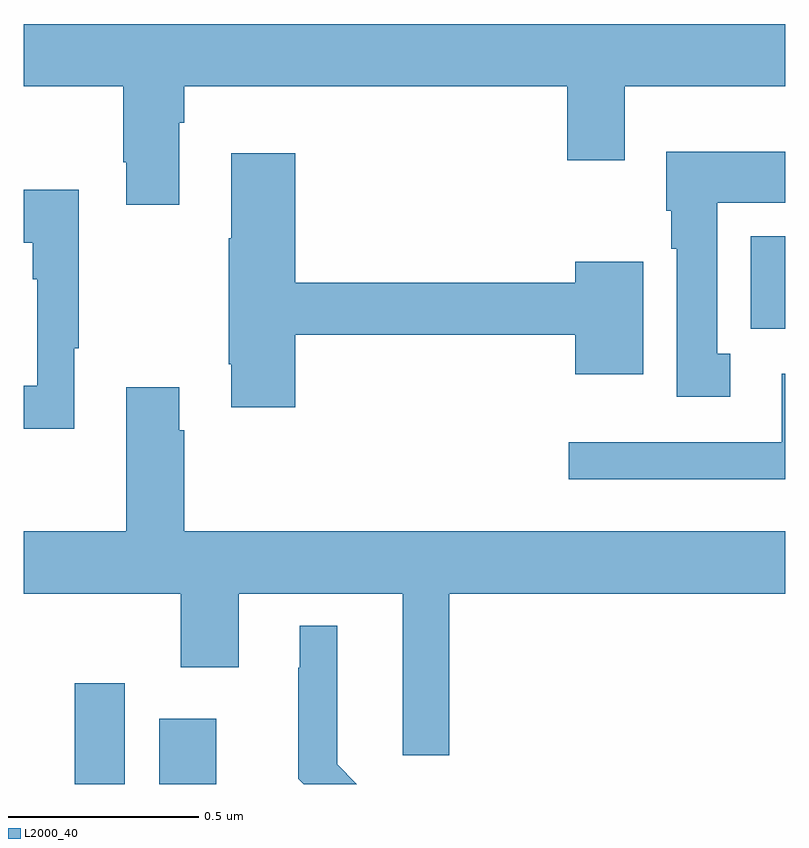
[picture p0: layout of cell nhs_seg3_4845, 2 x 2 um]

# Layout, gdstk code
import gdstk
lib = gdstk.Library(unit=1e-6, precision=1e-09)
def R(c, l, rs):  # rectangles x0, y0, x1, y1
    for r in rs: c.add(gdstk.rectangle(r[:2], r[2:], *l))
def P(c, l, *ps):  # polygons
    for p in ps: c.add(gdstk.Polygon(p, *l))
L2000_40 = (2000, 40)

nhs_seg3_4845 = lib.new_cell('nhs_seg3_4845')
R(nhs_seg3_4845, L2000_40, [(171.134,716.4,171.265,716.665), (171.356,716.4,171.505,716.572), (172.91,717.596,173,717.838)])
P(nhs_seg3_4845, L2000_40, [(171.409,718.136),(171.422,718.136),(171.422,718.232),(172.427,718.232),(172.427,718.038),(172.579,718.038),(172.579,718.232),(173,718.232),(173,718.396),(171,718.396),(171,718.232),(171.262,718.232),(171.262,718.033),(171.269,718.033),(171.269,717.921),(171.409,717.921)],
  [(172.855,717.53),(172.822,717.53),(172.822,717.926),(173,717.926),(173,718.06),(172.688,718.06),(172.688,717.906),(172.7,717.906),(172.7,717.806),(172.715,717.806),(172.715,717.417),(172.855,717.417)],
  [(171.713,717.58),(172.448,717.58),(172.448,717.476),(172.627,717.476),(172.627,717.772),(172.448,717.772),(172.448,717.716),(171.713,717.716),(171.713,718.057),(171.545,718.057),(171.545,717.833),(171.538,717.833),(171.538,717.502),(171.545,717.502),(171.545,717.39),(171.713,717.39)],
  [(171.133,717.545),(171.145,717.545),(171.145,717.961),(171,717.961),(171,717.821),(171.024,717.821),(171.024,717.725),(171.036,717.725),(171.036,717.446),(171,717.446),(171,717.333),(171.133,717.333)],
  [(173,717.478),(172.991,717.478),(172.991,717.297),(172.431,717.297),(172.431,717.2),(173,717.2)],
  [(172.118,716.9),(173,716.9),(173,717.064),(171.422,717.064),(171.422,717.329),(171.409,717.329),(171.409,717.442),(171.269,717.442),(171.269,717.064),(171,717.064),(171,716.9),(171.413,716.9),(171.413,716.706),(171.565,716.706),(171.565,716.9),(171.995,716.9),(171.995,716.475),(172.118,716.475)],
  [(171.823,716.452),(171.823,716.815),(171.725,716.815),(171.725,716.705),(171.721,716.705),(171.721,716.414),(171.735,716.4),(171.874,716.4)])

lib.write_gds('nhs_seg3_4845.gds')
